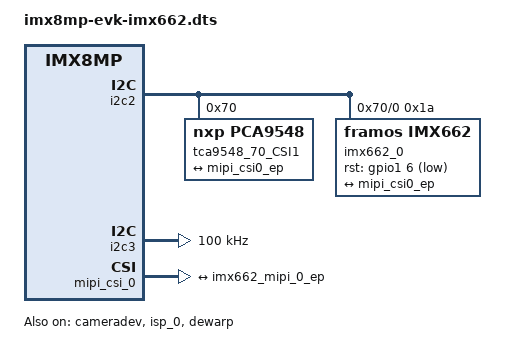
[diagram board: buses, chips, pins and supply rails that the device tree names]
// SPDX-License-Identifier: (GPL-2.0+ OR MIT)
/*
 * Copyright 2020 NXP
 *
 * This program is free software; you can redistribute it and/or
 * modify it under the terms of the GNU General Public License
 * as published by the Free Software Foundation; either version 2
 * of the License, or (at your option) any later version.
 *
 * This program is distributed in the hope that it will be useful,
 * but WITHOUT ANY WARRANTY; without even the implied warranty of
 * MERCHANTABILITY or FITNESS FOR A PARTICULAR PURPOSE.  See the
 * GNU General Public License for more details.
 */

/dts-v1/;

#include "imx8mp-evk.dts"

#define CAMERA_I2C_MUX_BUS(x) (0x1E + x)

&i2c2 {
	/delete-node/ov5640_mipi@3c;

	tca9548_70_CSI1: tca9548@70 {
		compatible = "nxp,pca9548";
		reg = <0x70>;
		#address-cells = <1>;
		#size-cells = <0>;
		skip_mux_detect;
		force_bus_start = <CAMERA_I2C_MUX_BUS(0)>;

		i2c@0 {
			reg = <0>;
			i2c-mux,deselect-on-exit;
			#address-cells = <1>;
			#size-cells = <0>;
			status = "okay";

			imx662_0: imx662_mipi@1a {
				compatible = "framos,imx662";
				reg = <0x1a>;
				pinctrl-names = "default";
				pinctrl-0 = <&pinctrl_csi0_pwn>, <&pinctrl_csi0_rst>, <&pinctrl_csi_mclk>;
				clocks = <&clk IMX8MP_CLK_IPP_DO_CLKO2>;
				clock-names = "csi_mclk";
				csi_id = <0>;
				rst-gpios = <&gpio1 6 GPIO_ACTIVE_LOW>;
				mipi_csi;
				status = "okay";

				port {
					imx662_mipi_0_ep: endpoint {
						remote-endpoint = <&mipi_csi0_ep>;
						data-lanes = <1 2 3 4>;
						clock-lanes = <0>;
						max-pixel-frequency = /bits/ 64 <500000000>;
					};
				};
			};
		};
	};
};

&i2c3 {
	clock-frequency = <100000>;
	pinctrl-names = "default";
	pinctrl-0 = <&pinctrl_i2c3>;
	status = "okay";

	ov5640_1: ov5640_mipi@3c {
		status = "disabled";
	};
};

&cameradev {
	status = "okay";
};

&isi_0 {
	status = "disabled";
};

&isi_1 {
	status = "disabled";
};

&isp_0 {
	status = "okay";
};

&dewarp {
	status = "okay";
};

&mipi_csi_0 {
	status = "okay";

	port {
		mipi_csi0_ep: endpoint {
			remote-endpoint = <&imx662_mipi_0_ep>;
			data-lanes = <4>;
			csis-hs-settle = <13>;
			csis-clk-settle = <2>;
			csis-wclk;
		};
	};
};

&mipi_csi_1 {
	status = "disabled";
};
